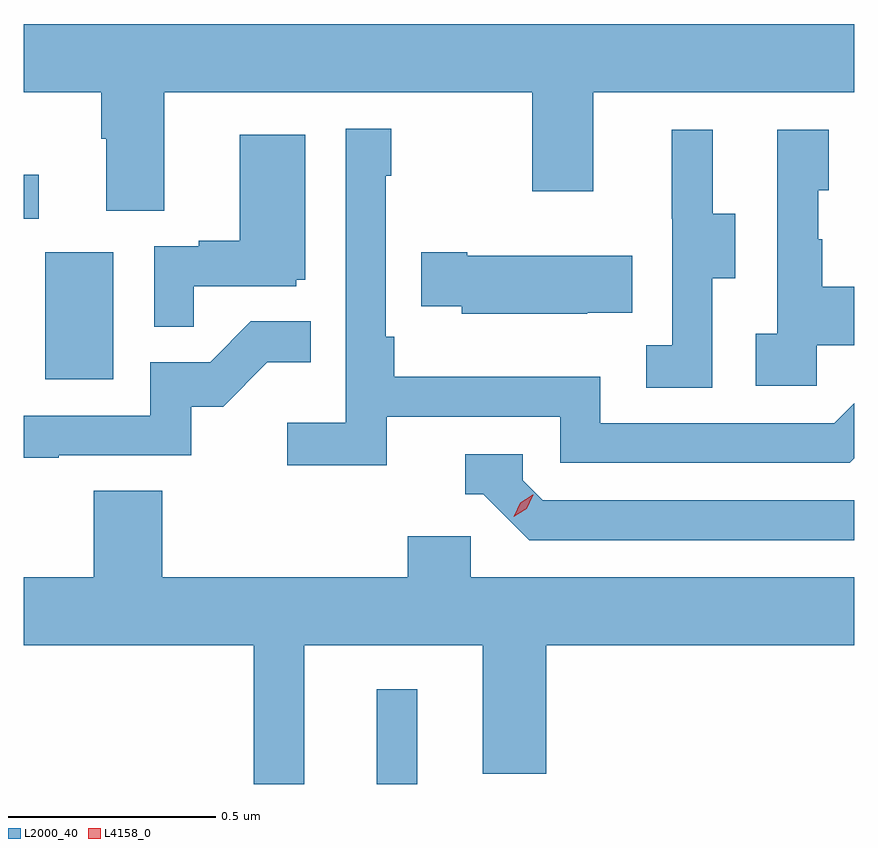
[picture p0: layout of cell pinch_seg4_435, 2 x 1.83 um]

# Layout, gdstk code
import gdstk
lib = gdstk.Library(unit=1e-6, precision=1e-09)
def R(c, l, rs):  # rectangles x0, y0, x1, y1
    for r in rs: c.add(gdstk.rectangle(r[:2], r[2:], *l))
def P(c, l, *ps):  # polygons
    for p in ps: c.add(gdstk.Polygon(p, *l))
L2000_40 = (2000, 40)
L4158_0 = (4158, 0)

pinch_seg4_435 = lib.new_cell('pinch_seg4_435')
R(pinch_seg4_435, L2000_40, [(922.916,775.174,923.014,775.402), (922.118,776.148,922.282,776.455), (922.066,776.535,922.102,776.641)])
P(pinch_seg4_435, L2000_40, [(922.405,776.84),(923.29,776.84),(923.29,776.601),(923.437,776.601),(923.437,776.84),(924.066,776.84),(924.066,777.004),(922.066,777.004),(922.066,776.84),(922.253,776.84),(922.253,776.728),(922.265,776.728),(922.265,776.554),(922.405,776.554)],
  [(922.94,776.058),(923.358,776.058),(923.358,775.947),(924.055,775.947),(924.066,775.958),(924.066,776.091),(924.018,776.043),(923.454,776.043),(923.454,776.155),(922.958,776.155),(922.958,776.251),(922.938,776.251),(922.938,776.639),(922.951,776.639),(922.951,776.752),(922.842,776.752),(922.842,776.044),(922.701,776.044),(922.701,775.942),(922.94,775.942)],
  [(923.976,776.231),(924.066,776.231),(924.066,776.371),(923.989,776.371),(923.989,776.486),(923.979,776.486),(923.979,776.604),(924.004,776.604),(924.004,776.749),(923.88,776.749),(923.88,776.258),(923.829,776.258),(923.829,776.133),(923.976,776.133)],
  [(923.724,776.392),(923.779,776.392),(923.779,776.547),(923.725,776.547),(923.725,776.749),(923.627,776.749),(923.627,776.535),(923.628,776.535),(923.628,776.231),(923.565,776.231),(923.565,776.128),(923.724,776.128)],
  [(922.475,776.373),(922.722,776.373),(922.722,776.388),(922.744,776.388),(922.744,776.737),(922.586,776.737),(922.586,776.482),(922.487,776.482),(922.487,776.469),(922.38,776.469),(922.38,776.275),(922.475,776.275)],
  [(923.423,776.309),(923.531,776.309),(923.531,776.446),(923.134,776.446),(923.134,776.454),(923.023,776.454),(923.023,776.324),(923.121,776.324),(923.121,776.306),(923.423,776.306)],
  [(922.151,775.965),(922.47,775.965),(922.47,776.082),(922.546,776.082),(922.653,776.189),(922.757,776.189),(922.757,776.288),(922.613,776.288),(922.515,776.19),(922.371,776.19),(922.371,776.061),(922.066,776.061),(922.066,775.96),(922.151,775.96)],
  [(924.066,775.857),(923.316,775.857),(923.268,775.905),(923.268,775.968),(923.129,775.968),(923.129,775.872),(923.172,775.872),(923.283,775.761),(924.066,775.761)],
  [(923.142,775.77),(922.991,775.77),(922.991,775.672),(922.4,775.672),(922.4,775.88),(922.235,775.88),(922.235,775.672),(922.066,775.672),(922.066,775.508),(922.62,775.508),(922.62,775.174),(922.741,775.174),(922.741,775.508),(923.171,775.508),(923.171,775.199),(923.324,775.199),(923.324,775.508),(924.066,775.508),(924.066,775.672),(923.142,775.672)])
P(pinch_seg4_435, L4158_0, [(923.246,775.818),(923.246,775.818),(923.262,775.851),(923.292,775.87),(923.293,775.87),(923.293,775.87),(923.277,775.837),(923.246,775.818)])

lib.write_gds('pinch_seg4_435.gds')
